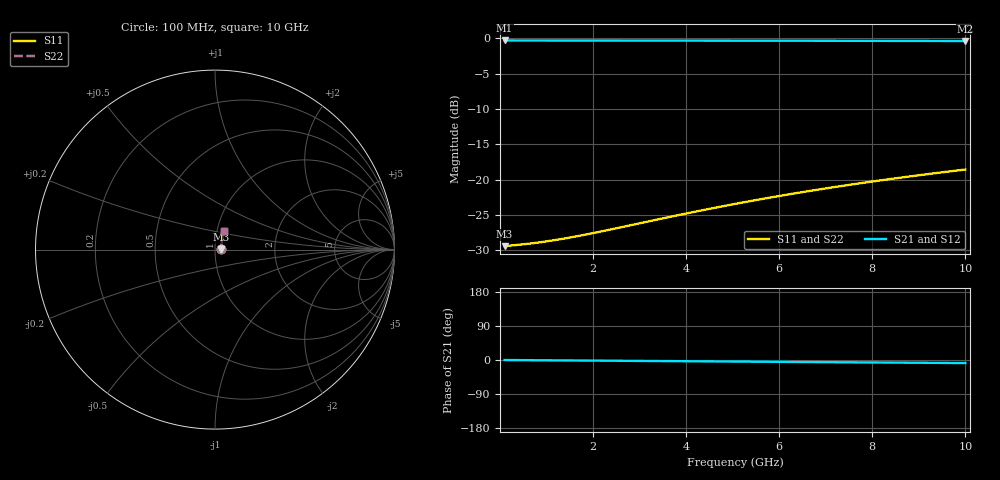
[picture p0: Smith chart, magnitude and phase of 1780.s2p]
# Hz S RI R 50.00
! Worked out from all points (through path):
!   100 points, 100 MHz to 10 GHz, reference 50 ohm
!   highest |S21| = -0.30 dB at 100 MHz (marker M1); lowest = -0.4 dB at 10 GHz (marker M2)
!   group delay of S21, straight-line fit = 2.24 ps
!   lowest |S11| = -29.4 dB at 100 MHz (marker M3), VSWR 1.07, Z = 53.5 + j0.116 ohm
!   |S11| at or under -10 dB: start of sweep to end of sweep
!   |S22| runs from -29.4 to -18.6 dB; largest |S21 - S12| = 0
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1e8  0.0338 0.00108  0.9662 -0.00137  0.9662 -0.00137  0.0338 0.00108
6e8  0.0345 0.0065  0.9655 -0.00819  0.9655 -0.00819  0.0345 0.0065
9e8  0.0348 0.00974  0.9652 -0.0123  0.9652 -0.0123  0.0348 0.00974
1.1e9  0.035 0.0119  0.965 -0.015  0.965 -0.015  0.035 0.0119
1.3e9  0.0352 0.0141  0.9648 -0.0177  0.9648 -0.0177  0.0352 0.0141
1.5e9  0.0354 0.0162  0.9646 -0.0205  0.9646 -0.0205  0.0354 0.0162
1.8e9  0.0356 0.0195  0.9643 -0.0245  0.9643 -0.0245  0.0356 0.0195
2.3e9  0.0361 0.0248  0.9638 -0.0313  0.9638 -0.0313  0.0361 0.0248
3.4e9  0.0374 0.0367  0.9626 -0.0463  0.9626 -0.0463  0.0374 0.0367
3.9e9  0.038 0.042  0.9619 -0.053  0.9619 -0.053  0.038 0.042
4.3e9  0.0386 0.0463  0.9613 -0.0585  0.9613 -0.0585  0.0386 0.0463
4.7e9  0.0392 0.0506  0.9607 -0.0639  0.9607 -0.0639  0.0392 0.0506
5.1e9  0.0399 0.0548  0.96 -0.0692  0.96 -0.0692  0.0399 0.0548
5.5e9  0.0406 0.0591  0.9593 -0.0746  0.9593 -0.0746  0.0406 0.0591
5.9e9  0.0413 0.0633  0.9585 -0.08  0.9585 -0.08  0.0413 0.0633
6.3e9  0.0421 0.0675  0.9577 -0.0854  0.9577 -0.0854  0.0421 0.0675
6.7e9  0.0429 0.0718  0.9569 -0.0907  0.9569 -0.0907  0.0429 0.0718
7.5e9  0.0447 0.0802  0.955 -0.1014  0.955 -0.1014  0.0447 0.0802
7.9e9  0.0457 0.0843  0.954 -0.1067  0.954 -0.1067  0.0457 0.0843
8.4e9  0.047 0.0896  0.9527 -0.1133  0.9527 -0.1133  0.047 0.0896
9.2e9  0.0492 0.0978  0.9505 -0.1239  0.9505 -0.1239  0.0492 0.0978
1e10  0.0515 0.1061  0.948 -0.1344  0.948 -0.1344  0.0515 0.1061
